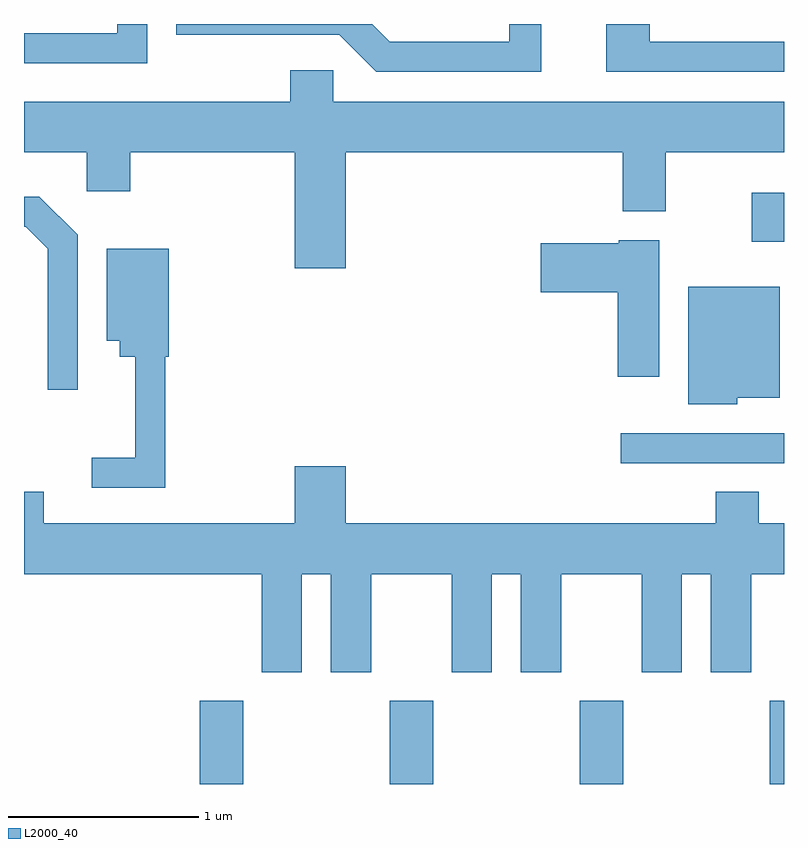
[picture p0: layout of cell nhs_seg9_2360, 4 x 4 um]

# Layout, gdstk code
import gdstk
lib = gdstk.Library(unit=1e-6, precision=1e-09)
def R(c, l, rs):  # rectangles x0, y0, x1, y1
    for r in rs: c.add(gdstk.rectangle(r[:2], r[2:], *l))
def A(c, l, x, y, w, h, nx, ny, dx, dy):  # array of equal rectangles
    R(c, l, [(x+i*dx, y+j*dy, x+i*dx+w, y+j*dy+h) for i in range(nx) for j in range(ny)])
def P(c, l, *ps):  # polygons
    for p in ps: c.add(gdstk.Polygon(p, *l))
L2000_40 = (2000, 40)

nhs_seg9_2360 = lib.new_cell('nhs_seg9_2360')
A(nhs_seg9_2360, L2000_40, 254.536, 2048.432, 0.228, 0.437, 3, 1, 1, 0)
R(nhs_seg9_2360, L2000_40, [(257.536,2048.432,257.611,2048.869), (256.753,2050.121,257.611,2050.279), (257.441,2051.286,257.611,2051.544)])
P(nhs_seg9_2360, L2000_40, [(256.334,2052.432),(256.166,2052.432),(256.166,2052.339),(255.537,2052.339),(255.444,2052.432),(254.411,2052.432),(254.411,2052.376),(255.269,2052.376),(255.464,2052.181),(256.334,2052.181)],
  [(254.259,2052.432),(254.101,2052.432),(254.101,2052.384),(253.611,2052.384),(253.611,2052.226),(254.259,2052.226)],
  [(257.611,2052.339),(256.904,2052.339),(256.904,2052.432),(256.676,2052.432),(256.676,2052.181),(257.611,2052.181)],
  [(255.304,2051.756),(256.761,2051.756),(256.761,2051.446),(256.989,2051.446),(256.989,2051.756),(257.611,2051.756),(257.611,2052.024),(255.239,2052.024),(255.239,2052.189),(255.011,2052.189),(255.011,2052.024),(253.611,2052.024),(253.611,2051.756),(253.941,2051.756),(253.941,2051.551),(254.169,2051.551),(254.169,2051.756),(255.036,2051.756),(255.036,2051.146),(255.304,2051.146)],
  [(253.894,2051.322),(253.692,2051.524),(253.611,2051.524),(253.611,2051.366),(253.619,2051.366),(253.736,2051.249),(253.736,2050.508),(253.894,2050.508)],
  [(256.954,2051.294),(256.74,2051.294),(256.74,2051.279),(256.331,2051.279),(256.331,2051.021),(256.736,2051.021),(256.736,2050.576),(256.954,2050.576)],
  [(254.354,2050.681),(254.374,2050.681),(254.374,2051.249),(254.046,2051.249),(254.046,2050.766),(254.116,2050.766),(254.116,2050.681),(254.196,2050.681),(254.196,2050.149),(253.968,2050.149),(253.968,2049.991),(254.354,2049.991)],
  [(257.364,2050.466),(257.589,2050.466),(257.589,2051.049),(257.106,2051.049),(257.106,2050.431),(257.364,2050.431)],
  [(255.074,2049.536),(255.226,2049.536),(255.226,2049.021),(255.439,2049.021),(255.439,2049.536),(255.861,2049.536),(255.861,2049.021),(256.074,2049.021),(256.074,2049.536),(256.226,2049.536),(256.226,2049.021),(256.439,2049.021),(256.439,2049.536),(256.861,2049.536),(256.861,2049.021),(257.074,2049.021),(257.074,2049.536),(257.226,2049.536),(257.226,2049.021),(257.439,2049.021),(257.439,2049.536),(257.611,2049.536),(257.611,2049.804),(257.479,2049.804),(257.479,2049.969),(257.251,2049.969),(257.251,2049.804),(255.304,2049.804),(255.304,2050.104),(255.036,2050.104),(255.036,2049.804),(253.714,2049.804),(253.714,2049.969),(253.611,2049.969),(253.611,2049.536),(254.861,2049.536),(254.861,2049.021),(255.074,2049.021)])

lib.write_gds('nhs_seg9_2360.gds')
